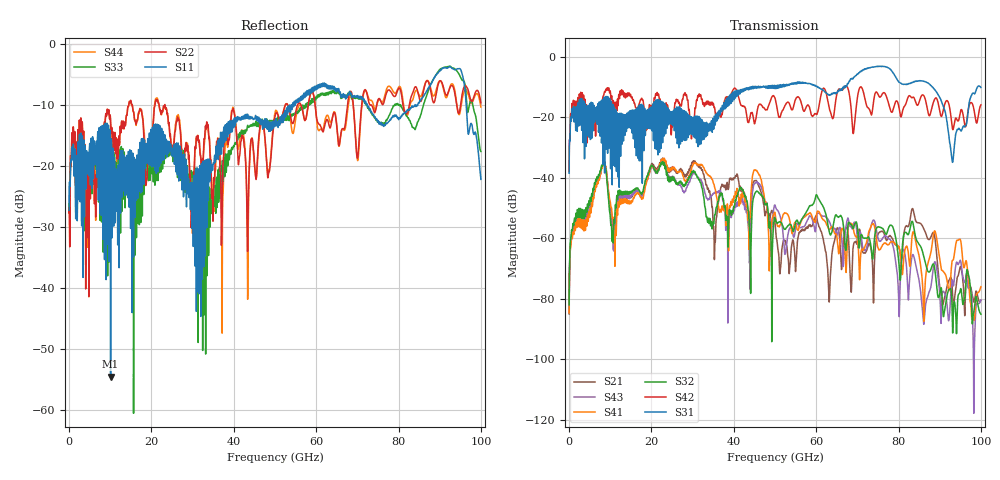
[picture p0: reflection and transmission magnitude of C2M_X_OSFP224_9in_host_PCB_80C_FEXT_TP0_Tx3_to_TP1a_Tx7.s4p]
# GHz S RI R 45
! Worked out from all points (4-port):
!   4000 points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, 25 MHz to 100 GHz, reference 45 ohm
!   strongest paths, dB at 25 MHz, 25.02 GHz, 50.02 GHz, 75.03 GHz, 100 GHz:
!     S31: -38.5, -18.2, -10.6, -3.2, -10.2
!     S42: -38.0, -22.6, -13.7, -12.5, -15.9
!     S32: -82.1, -40.7, -53.2, -56.2, -85.1
!     S41: -84.7, -37.2, -51.7, -63.2, -76.0
!     S43: -83.1, -40.2, -49.1, -59.9, -80.5
!     S21: -85.0, -37.4, -55.0, -58.6, -80.5
!   lowest |S11| = -54.5 dB at 10.1 GHz (marker M1), VSWR 1.00, Z = 45.2 + j0.0661 ohm
!   |S11| at or under -10 dB: start of sweep to 54.27 GHz; 72.41 GHz to 84.02 GHz (11.61 GHz wide, 14.8 % of centre); 96.43 GHz to end of sweep (the widest 3 of 6)
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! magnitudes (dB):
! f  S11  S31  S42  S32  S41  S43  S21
! 25 MHz  -27.3  -38.5  -38.0  -82.1  -84.7  -83.1  -85.0
! 10.1 GHz  -54.5  -37.0  -12.4  -54.8  -49.1  -50.7  -51.3
! 45.3 GHz  -11.8  -9.8  -21.0  -44.8  -37.4  -41.5  -40.9
! 63.15 GHz  -6.9  -12.8  -16.8  -57.9  -57.1  -54.4  -81.1
! 83.45 GHz  -10.4  -8.5  -13.4  -54.7  -58.1  -65.4  -50.2
! 93.08 GHz  -4.1  -34.8  -23.6  -88.0  -67.4  -73.9  -77.3
! 100 GHz  -22.2  -10.2  -15.9  -85.1  -76.0  -80.5  -80.5
